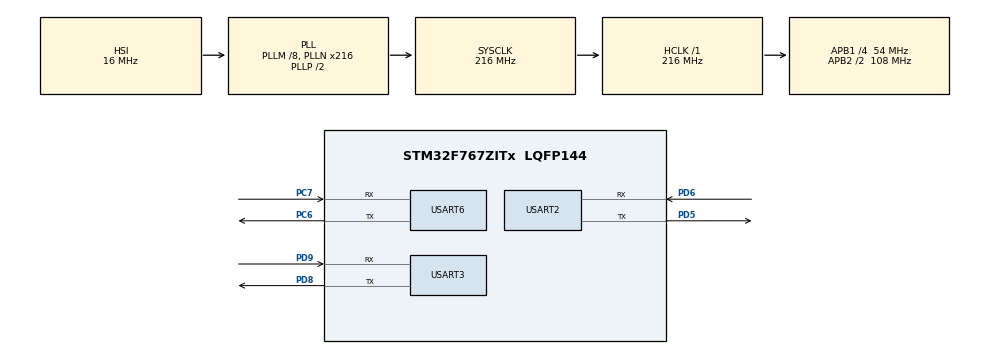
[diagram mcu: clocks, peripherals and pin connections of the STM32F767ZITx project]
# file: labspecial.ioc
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Mcu.Family=STM32F7
Mcu.Name=STM32F767ZITx
Mcu.Package=LQFP144
NVIC.PriorityGroup=NVIC_PRIORITYGROUP_4
PB6.Signal=USART1_TX
PC6.Mode=Asynchronous
PC6.Signal=USART6_TX
PC7.Mode=Asynchronous
PC7.Signal=USART6_RX
PD5.Mode=Asynchronous
PD5.Signal=USART2_TX
PD6.Mode=Asynchronous
PD6.Signal=USART2_RX
PD8.Mode=Asynchronous
PD8.Signal=USART3_TX
PD9.Mode=Asynchronous
PD9.Signal=USART3_RX
ProjectManager.HeapSize=0x200
ProjectManager.StackSize=0x400
ProjectManager.TargetToolchain=STM32CubeIDE
RCC.48MHZClocksFreq_Value=24000000
RCC.AHBFreq_Value=216000000
RCC.APB1CLKDivider=RCC_HCLK_DIV4
RCC.APB1Freq_Value=54000000
RCC.APB1TimFreq_Value=108000000
RCC.APB2CLKDivider=RCC_HCLK_DIV2
RCC.APB2Freq_Value=108000000
RCC.APB2TimFreq_Value=216000000
RCC.CortexFreq_Value=216000000
RCC.HCLKFreq_Value=216000000
RCC.HSE_VALUE=8000000
RCC.HSI_VALUE=16000000
RCC.LSE_VALUE=32768
RCC.PLLM=8
RCC.PLLMUL=RCC_PLL_MUL9
RCC.PLLN=216
RCC.PLLQ=4
RCC.PRESCALERUSB=RCC_USBCLKSOURCE_PLL_DIV1_5
RCC.SYSCLKFreq_VALUE=216000000
RCC.SYSCLKSource=RCC_SYSCLKSOURCE_PLLCLK
RCC.SYSCLKSourceVirtual=RCC_SYSCLKSOURCE_PLLCLK
RCC.USBFreq_Value=108000000
RCC.VCOOutputFreq_Value=432000000
USART2.VirtualMode-Asynchronous=VM_ASYNC
USART3.VirtualMode-Asynchronous=VM_ASYNC
USART6.VirtualMode-Asynchronous=VM_ASYNC
board=NUCLEO-F767ZI

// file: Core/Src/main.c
/* USER CODE BEGIN Header */
/**
  ******************************************************************************
  * @file           : main.c
  * @brief          : Main program body
  ******************************************************************************
  * @attention
  *
  * Copyright (c) 2024 STMicroelectronics.
  * All rights reserved.
  *
  * This software is licensed under terms that can be found in the LICENSE file
  * in the root directory of this software component.
  * If no LICENSE file comes with this software, it is provided AS-IS.
  *
  ******************************************************************************
  */
/* USER CODE END Header */
#include "main.h"
#include "usart.h"
#include "gpio.h"

/* USER CODE BEGIN Includes */
#include "string.h"
/* USER CODE END Includes */

/* USER CODE BEGIN PV */
char name[100];
char username[100];
char transmit[100];
char buffer[100];
int state1 = 1;
int state2 = 1;
int state3 = 1;
int state4 = 1;
int state5 = 1;
/* USER CODE END PV */

void SystemClock_Config(void);

int main(void)
{

  /* MCU Configuration--------------------------------------------------------*/

  /* Reset of all peripherals, Initializes the Flash interface and the Systick. */
  HAL_Init();

  /* Configure the system clock */
  SystemClock_Config();

  /* Initialize all configured peripherals */
  MX_GPIO_Init();
  MX_USART3_UART_Init();
  MX_USART2_UART_Init();
  MX_USART6_UART_Init();
  /* USER CODE BEGIN 2 */
  while(__HAL_UART_GET_FLAG(&huart3,UART_FLAG_TC)==RESET){}
   HAL_UART_Transmit(&huart3, (uint32_t*)"\r\nMan From U.A.R.T.1!\n\rQuit PRESS q", 35, 1000);
  /* USER CODE END 2 */

  /* Infinite loop */
  while (1)
  {

    /* USER CODE BEGIN 3 */
	  if (state1 == 1 ){
	  	  	 while(__HAL_UART_GET_FLAG(&huart3,UART_FLAG_TC)==RESET){}
	  	  	 	HAL_UART_Transmit(&huart3, (uint32_t*)"\r\n\tName : ", 10, 1000);

	  	  	 while(__HAL_UART_GET_FLAG(&huart3,UART_FLAG_RXNE)== RESET){}
	  	  	 	 HAL_UART_Receive(&huart3, (uint32_t*)&username, 100,1000);

	  	  	if (username[0] != '\000'){
	  	  		while(__HAL_UART_GET_FLAG(&huart3,UART_FLAG_TC)==RESET){}
	  	  		HAL_UART_Transmit(&huart3, (uint32_t*)&username, 100, 1000);
	  	  		while(__HAL_UART_GET_FLAG(&huart2,UART_FLAG_TC)==RESET){}
	  	  		HAL_UART_Transmit(&huart2, (uint32_t*)&username, strlen(username), 1000);}

	  	  	    state1 = 0;
	  	  }

	  	  if (state2 == 1){

	  				  while(name[0] == '\000'){
	  					  memset(name,0,sizeof(name));
	  					  while(__HAL_UART_GET_FLAG(&huart2,UART_FLAG_RXNE)== RESET){}
	  					  HAL_UART_Receive(&huart2, (uint32_t)&name, 100,1000);
	  				  }

	  				  while(__HAL_UART_GET_FLAG(&huart3,UART_FLAG_TC)==RESET){}
	  				  HAL_UART_Transmit(&huart3, (uint32_t*)"\r\n\t", 4, 200);
	  				  HAL_UART_Transmit(&huart3, (uint32_t)&name, 100, 1000);

	  				  while(__HAL_UART_GET_FLAG(&huart3,UART_FLAG_TC)==RESET){}
	  				  HAL_UART_Transmit(&huart3, (uint32_t*)" is Ready!", 10, 1000);
	  				  memset(name,0,sizeof(name));

	  	 		  state2 = 0;

	  	 	}

	  	      memset(buffer,0,sizeof(buffer));
	  	      memset(transmit,0,sizeof(transmit));

	  	 	 		  while(__HAL_UART_GET_FLAG(&huart3,UART_FLAG_TC)==RESET){}
	  	 	 		  	HAL_UART_Transmit(&huart3, (uint32_t*)"\r\n\t", 4, 200);
	  	 	 		  	HAL_UART_Transmit(&huart3, (uint32_t*)&username, strlen(username), 1000);

	  	 	 		  while(__HAL_UART_GET_FLAG(&huart3,UART_FLAG_TC)==RESET){}
	  	 	 		  	HAL_UART_Transmit(&huart3, (uint32_t*)"=>", 2, 1000);

	  	 	 		 while(transmit[0] == '\000'){
	  					  memset(transmit,0,sizeof(transmit));
	  					  while(__HAL_UART_GET_FLAG(&huart3,UART_FLAG_RXNE)== RESET){}
	  						HAL_UART_Receive(&huart3, (uint32_t*)&transmit, 100,1000);
	  	 	 		 }

	  	 	 		 while(__HAL_UART_GET_FLAG(&huart3,UART_FLAG_TC)==RESET){}
	  	 	 		 HAL_UART_Transmit(&huart3, (uint32_t*)&transmit, 100, 1000);

	  	 	 		if((transmit[0] == 'q'||transmit[0] == 'Q') && transmit[1] == '\000'){

	  	 	 			while(__HAL_UART_GET_FLAG(&huart3,UART_FLAG_TC)==RESET){}
	  	 	 			HAL_UART_Transmit(&huart3, (uint32_t)"\r\nUSER1 is disconected", 20, 1000);
	  	 	 			sprintf(buffer,"%s",transmit);
	  	 	 			while(__HAL_UART_GET_FLAG(&huart2,UART_FLAG_TC)==RESET){}
	  	 	 			HAL_UART_Transmit(&huart2, (uint32_t*)&buffer, 100, 1000);
	  	 	 			break;

	  	 	 		}
	  	 	 		else{
	  	 	 		 sprintf(buffer,"\r\n\t%s : %s",username,transmit);
	  	 	 		  while(__HAL_UART_GET_FLAG(&huart2,UART_FLAG_TC)==RESET){}
	  	 	 		  HAL_UART_Transmit(&huart2, (uint32_t*)&buffer, 100, 1000);
	  	 	 		}

	  		  memset(name,0,sizeof(name));

	  				  while(name[0] == '\000'){
	  					  memset(name,0,sizeof(name));
	  					  while(__HAL_UART_GET_FLAG(&huart2,UART_FLAG_RXNE)== RESET){}
	  					  HAL_UART_Receive(&huart2, (uint32_t)&name, 100,1000);

	  				  }
	  				  if((name[0] == 'q'||name[0] == 'Q') && name[1] == '\000'){
	  				  	state3 == 0;
	  				  	while(__HAL_UART_GET_FLAG(&huart3,UART_FLAG_TC)==RESET){}
	  				  	HAL_UART_Transmit(&huart3, (uint32_t)"\r\nUSER2 is disconected", 20, 1000);
	  				  	break;
	  				  }
	  				  else{

	  					  while(__HAL_UART_GET_FLAG(&huart3,UART_FLAG_TC)==RESET){}
	  					  HAL_UART_Transmit(&huart3, (uint32_t)&name, 100, 1000);
	  				  }

  }
  /* USER CODE END 3 */
}

void SystemClock_Config(void)
{
  RCC_OscInitTypeDef RCC_OscInitStruct = {0};
  RCC_ClkInitTypeDef RCC_ClkInitStruct = {0};

  /** Configure the main internal regulator output voltage
  */
  __HAL_RCC_PWR_CLK_ENABLE();
  __HAL_PWR_VOLTAGESCALING_CONFIG(PWR_REGULATOR_VOLTAGE_SCALE1);

  /** Initializes the RCC Oscillators according to the specified parameters
  * in the RCC_OscInitTypeDef structure.
  */
  RCC_OscInitStruct.OscillatorType = RCC_OSCILLATORTYPE_HSI;
  RCC_OscInitStruct.HSIState = RCC_HSI_ON;
  RCC_OscInitStruct.HSICalibrationValue = RCC_HSICALIBRATION_DEFAULT;
  RCC_OscInitStruct.PLL.PLLState = RCC_PLL_ON;
  RCC_OscInitStruct.PLL.PLLSource = RCC_PLLSOURCE_HSI;
  RCC_OscInitStruct.PLL.PLLM = 8;
  RCC_OscInitStruct.PLL.PLLN = 216;
  RCC_OscInitStruct.PLL.PLLP = RCC_PLLP_DIV2;
  RCC_OscInitStruct.PLL.PLLQ = 4;
  RCC_OscInitStruct.PLL.PLLR = 2;
  if (HAL_RCC_OscConfig(&RCC_OscInitStruct) != HAL_OK)
  {
    Error_Handler();
  }

  /** Activate the Over-Drive mode
  */
  if (HAL_PWREx_EnableOverDrive() != HAL_OK)
  {
    Error_Handler();
  }

  /** Initializes the CPU, AHB and APB buses clocks
  */
  RCC_ClkInitStruct.ClockType = RCC_CLOCKTYPE_HCLK|RCC_CLOCKTYPE_SYSCLK
                              |RCC_CLOCKTYPE_PCLK1|RCC_CLOCKTYPE_PCLK2;
  RCC_ClkInitStruct.SYSCLKSource = RCC_SYSCLKSOURCE_PLLCLK;
  RCC_ClkInitStruct.AHBCLKDivider = RCC_SYSCLK_DIV1;
  RCC_ClkInitStruct.APB1CLKDivider = RCC_HCLK_DIV4;
  RCC_ClkInitStruct.APB2CLKDivider = RCC_HCLK_DIV2;

  if (HAL_RCC_ClockConfig(&RCC_ClkInitStruct, FLASH_LATENCY_7) != HAL_OK)
  {
    Error_Handler();
  }
}

/* USER CODE BEGIN 4 */
int strcmp1(char A,char B){
	int couter = 0;
	if (strlen(A) > strlen(B)){
		return 1;
	}
	else if (strlen(B) > strlen(A)){
		return 0;
	}
}
/* USER CODE END 4 */

void Error_Handler(void)
{
  __disable_irq();
  while (1)
  {
  }
}
